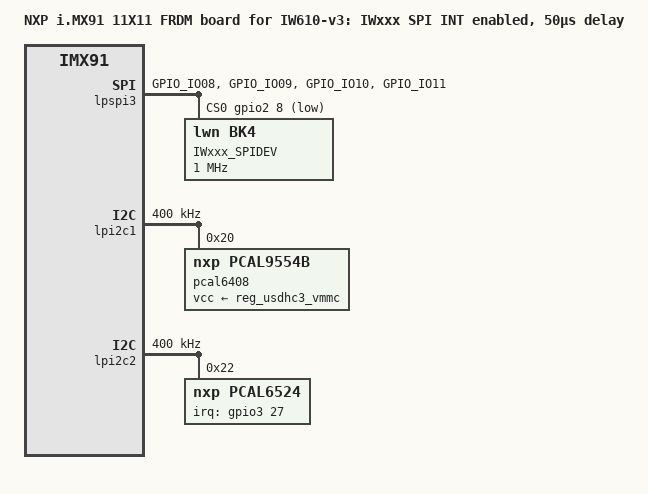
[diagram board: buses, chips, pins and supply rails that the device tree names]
// SPDX-License-Identifier: (GPL-2.0+ OR MIT)
/*
 * Copyright 2024 NXP
 */

/* Supported for chipsets:
 - IW610
 Chip support list end */

/dts-v1/;

#include <dt-bindings/usb/pd.h>
#include "imx91-11x11-frdm.dts"


/ {
	// Patch for IW61x:
	// v1: ffu_gpio_irq (make GPIO_SPI_INT interruptible)
	// v2: gpio naming and options description in model
	// v3: SPI 50µs interleaved
	model = "NXP i.MX91 11X11 FRDM board for IW610-v3: IWxxx SPI INT enabled, 50µs delay";
	compatible = "fsl,imx91-11x11-frdm", "fsl,imx91";

};

&lpspi3 {
	fsl,spi-num-chipselects = <1>;
	pinctrl-names = "default", "sleep";
	pinctrl-0 = <&pinctrl_lpspi3>;
	pinctrl-1 = <&pinctrl_lpspi3>;
	cs-gpios = <&gpio2 8 GPIO_ACTIVE_LOW>;
	pinctrl-assert-gpios = <&pcal6408 0 GPIO_ACTIVE_HIGH>;
	status = "okay";

	spidev0: spi@0 {
		reg = <0>;
		compatible = "lwn,bk4";
		spi-max-frequency = <1000000>;
		spi-cs-inactive-delay-ns = <50000>;
		label="IWxxx_SPIDEV";
	};
};

&lpi2c1 {
	#address-cells = <1>;
	#size-cells = <0>;
	clock-frequency = <400000>;
	pinctrl-names = "default", "sleep";
	pinctrl-0 = <&pinctrl_lpi2c1>;
	pinctrl-1 = <&pinctrl_lpi2c1>;
	status = "okay";

	pcal6408: gpio@20 {
		compatible = "nxp,pcal9554b";
		reg = <0x20>;
		gpio-controller;
		#gpio-cells = <2>;
		vcc-supply = <&reg_usdhc3_vmmc>;
		status = "okay";
		gpio-line-names = "IWxxx_NB_SPI_ENA", "IWxxx_NB_IND_RST_15_4";
	};

};

&lpi2c2 {
	#address-cells = <1>;
	#size-cells = <0>;
	clock-frequency = <400000>;
	pinctrl-names = "default", "sleep";
	pinctrl-0 = <&pinctrl_lpi2c2>;
	pinctrl-1 = <&pinctrl_lpi2c2>;
	status = "okay";


	pcal6524: gpio@22 {
		compatible = "nxp,pcal6524";
		pinctrl-names = "default";
		pinctrl-0 = <&pinctrl_pcal6524>;
		reg = <0x22>;
		gpio-controller;
		#gpio-cells = <2>;
		interrupt-controller;
		#interrupt-cells = <2>;
		interrupt-parent = <&gpio3>;
		interrupts = <27 IRQ_TYPE_LEVEL_LOW>;
		gpio-line-names = "", "", "", "", "", "", "", "", "", "", "IWxxx_NB_SPI_INT", "", "", "", "", "", "", "", "", "";
	};
};

&iomuxc {

	pinctrl_lpspi3: lpspi3grp {
		fsl,pins = <
			MX91_PAD_GPIO_IO08__GPIO2_IO8		0x3fe
			MX91_PAD_GPIO_IO09__LPSPI3_SIN		0x3fe
			MX91_PAD_GPIO_IO10__LPSPI3_SOUT		0x3fe
			MX91_PAD_GPIO_IO11__LPSPI3_SCK		0x3fe
		>;
	};


};
